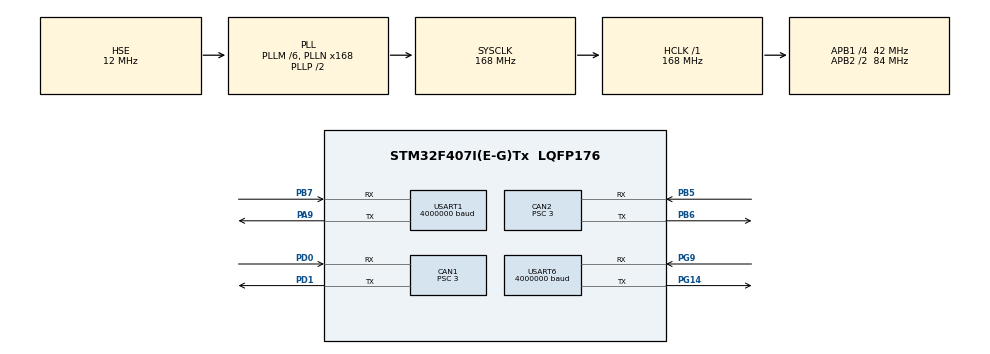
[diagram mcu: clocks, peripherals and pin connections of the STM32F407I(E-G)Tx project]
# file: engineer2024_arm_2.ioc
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CAN1.BS1=CAN_BS1_10TQ
CAN1.BS2=CAN_BS2_3TQ
CAN1.CalculateBaudRate=1000000
CAN1.CalculateTimeBit=1000
CAN1.CalculateTimeQuantum=71.42857142857143
CAN1.Prescaler=3
CAN2.BS1=CAN_BS1_10TQ
CAN2.BS2=CAN_BS2_3TQ
CAN2.CalculateBaudRate=1000000
CAN2.CalculateTimeBit=1000
CAN2.CalculateTimeQuantum=71.42857142857143
CAN2.Prescaler=3
Dma.Request0=USART1_TX
Dma.Request1=USART1_RX
Dma.Request2=USART6_RX
Dma.Request3=USART6_TX
Dma.USART1_RX.1.Direction=DMA_PERIPH_TO_MEMORY
Dma.USART1_RX.1.FIFOMode=DMA_FIFOMODE_DISABLE
Dma.USART1_RX.1.Instance=DMA2_Stream2
Dma.USART1_RX.1.MemDataAlignment=DMA_MDATAALIGN_BYTE
Dma.USART1_RX.1.MemInc=DMA_MINC_ENABLE
Dma.USART1_RX.1.Mode=DMA_NORMAL
Dma.USART1_RX.1.PeriphDataAlignment=DMA_PDATAALIGN_BYTE
Dma.USART1_RX.1.PeriphInc=DMA_PINC_DISABLE
Dma.USART1_RX.1.Priority=DMA_PRIORITY_VERY_HIGH
Dma.USART1_TX.0.Direction=DMA_MEMORY_TO_PERIPH
Dma.USART1_TX.0.FIFOMode=DMA_FIFOMODE_DISABLE
Dma.USART1_TX.0.Instance=DMA2_Stream7
Dma.USART1_TX.0.MemDataAlignment=DMA_MDATAALIGN_BYTE
Dma.USART1_TX.0.MemInc=DMA_MINC_ENABLE
Dma.USART1_TX.0.Mode=DMA_NORMAL
Dma.USART1_TX.0.PeriphDataAlignment=DMA_PDATAALIGN_BYTE
Dma.USART1_TX.0.PeriphInc=DMA_PINC_DISABLE
Dma.USART1_TX.0.Priority=DMA_PRIORITY_VERY_HIGH
Dma.USART6_RX.2.Direction=DMA_PERIPH_TO_MEMORY
Dma.USART6_RX.2.FIFOMode=DMA_FIFOMODE_DISABLE
Dma.USART6_RX.2.Instance=DMA2_Stream1
Dma.USART6_RX.2.MemDataAlignment=DMA_MDATAALIGN_BYTE
Dma.USART6_RX.2.MemInc=DMA_MINC_ENABLE
Dma.USART6_RX.2.Mode=DMA_NORMAL
Dma.USART6_RX.2.PeriphDataAlignment=DMA_PDATAALIGN_BYTE
Dma.USART6_RX.2.PeriphInc=DMA_PINC_DISABLE
Dma.USART6_RX.2.Priority=DMA_PRIORITY_VERY_HIGH
Dma.USART6_TX.3.Direction=DMA_MEMORY_TO_PERIPH
Dma.USART6_TX.3.FIFOMode=DMA_FIFOMODE_DISABLE
Dma.USART6_TX.3.Instance=DMA2_Stream6
Dma.USART6_TX.3.MemDataAlignment=DMA_MDATAALIGN_BYTE
Dma.USART6_TX.3.MemInc=DMA_MINC_ENABLE
Dma.USART6_TX.3.Mode=DMA_NORMAL
Dma.USART6_TX.3.PeriphDataAlignment=DMA_PDATAALIGN_BYTE
Dma.USART6_TX.3.PeriphInc=DMA_PINC_DISABLE
Dma.USART6_TX.3.Priority=DMA_PRIORITY_VERY_HIGH
FREERTOS.Tasks01=defaultTask,0,128,StartDefaultTask,Default,NULL,Dynamic,NULL,NULL
Mcu.Family=STM32F4
Mcu.Name=STM32F407I(E-G)Tx
Mcu.Package=LQFP176
NVIC.CAN1_RX0_IRQn=true\:5\:0\:false\:false\:true\:true\:true\:true\:true
NVIC.CAN2_RX0_IRQn=true\:5\:0\:false\:false\:true\:true\:true\:true\:true
NVIC.DMA2_Stream1_IRQn=true\:5\:0\:false\:false\:true\:true\:false\:true\:true
NVIC.DMA2_Stream2_IRQn=true\:5\:0\:false\:false\:true\:true\:false\:true\:true
NVIC.DMA2_Stream6_IRQn=true\:5\:0\:false\:false\:true\:true\:false\:true\:true
NVIC.DMA2_Stream7_IRQn=true\:5\:0\:false\:false\:true\:true\:false\:true\:true
NVIC.PriorityGroup=NVIC_PRIORITYGROUP_4
NVIC.USART1_IRQn=true\:5\:0\:false\:false\:true\:true\:true\:true\:true
NVIC.USART6_IRQn=true\:5\:0\:false\:false\:true\:true\:true\:true\:true
PA13.Mode=Serial_Wire
PA13.Signal=SYS_JTMS-SWDIO
PA14.Mode=Serial_Wire
PA14.Signal=SYS_JTCK-SWCLK
PA9.Mode=Asynchronous
PA9.Signal=USART1_TX
PB5.Mode=CAN_Activate
PB5.Signal=CAN2_RX
PB6.Mode=CAN_Activate
PB6.Signal=CAN2_TX
PB7.Mode=Asynchronous
PB7.Signal=USART1_RX
PD0.Mode=CAN_Activate
PD0.Signal=CAN1_RX
PD1.Mode=CAN_Activate
PD1.Signal=CAN1_TX
PG14.Mode=Asynchronous
PG14.Signal=USART6_TX
PG9.Mode=Asynchronous
PG9.Signal=USART6_RX
PH0-OSC_IN.Mode=HSE-External-Oscillator
PH0-OSC_IN.Signal=RCC_OSC_IN
PH1-OSC_OUT.Mode=HSE-External-Oscillator
PH1-OSC_OUT.Signal=RCC_OSC_OUT
ProjectManager.HeapSize=0x200
ProjectManager.StackSize=0x400
ProjectManager.TargetToolchain=MDK-ARM V5.32
RCC.48MHZClocksFreq_Value=84000000
RCC.AHBFreq_Value=168000000
RCC.APB1CLKDivider=RCC_HCLK_DIV4
RCC.APB1Freq_Value=42000000
RCC.APB1TimFreq_Value=84000000
RCC.APB2CLKDivider=RCC_HCLK_DIV2
RCC.APB2Freq_Value=84000000
RCC.APB2TimFreq_Value=168000000
RCC.CortexFreq_Value=168000000
RCC.HCLKFreq_Value=168000000
RCC.HSE_VALUE=12000000
RCC.HSI_VALUE=16000000
RCC.LSE_VALUE=32768
RCC.PLLM=6
RCC.PLLN=168
RCC.PLLSourceVirtual=RCC_PLLSOURCE_HSE
RCC.SYSCLKFreq_VALUE=168000000
RCC.SYSCLKSource=RCC_SYSCLKSOURCE_PLLCLK
RCC.VCOOutputFreq_Value=336000000
USART1.BaudRate=4000000
USART1.VirtualMode=VM_ASYNC
USART6.BaudRate=4000000
USART6.VirtualMode=VM_ASYNC
VP_FREERTOS_VS_CMSIS_V1.Mode=CMSIS_V1
board=custom

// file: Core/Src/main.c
/* USER CODE BEGIN Header */
/**
  ******************************************************************************
  * @file           : main.c
  * @brief          : Main program body
  ******************************************************************************
  * @attention
  *
  * Copyright (c) 2024 STMicroelectronics.
  * All rights reserved.
  *
  * This software is licensed under terms that can be found in the LICENSE file
  * in the root directory of this software component.
  * If no LICENSE file comes with this software, it is provided AS-IS.
  *
  ******************************************************************************
  */
/* USER CODE END Header */
#include "main.h"
#include "cmsis_os.h"
#include "can.h"
#include "dma.h"
#include "usart.h"
#include "gpio.h"

/* USER CODE BEGIN Includes */
#include "bsp_usart.h"
#include "bsp_can.h"
#include "bsp_dwt.h"
/* USER CODE END Includes */

void SystemClock_Config(void);
void MX_FREERTOS_Init(void);

int main(void)
{

  /* MCU Configuration--------------------------------------------------------*/

  /* Reset of all peripherals, Initializes the Flash interface and the Systick. */
  HAL_Init();

  /* Configure the system clock */
  SystemClock_Config();

  /* Initialize all configured peripherals */
  MX_GPIO_Init();
  MX_DMA_Init();
  MX_CAN1_Init();
  MX_CAN2_Init();
  MX_USART1_UART_Init();
  MX_USART6_UART_Init();
  /* USER CODE BEGIN 2 */
	uart1_init();
	uart6_init();
	can_filter_init();
	DWT_Init(168);
  /* USER CODE END 2 */

  /* Call init function for freertos objects (in freertos.c) */
  MX_FREERTOS_Init();

  /* Start scheduler */
  osKernelStart();

  /* We should never get here as control is now taken by the scheduler */
  /* Infinite loop */
  while (1)
  {

  }
}

void SystemClock_Config(void)
{
  RCC_OscInitTypeDef RCC_OscInitStruct = {0};
  RCC_ClkInitTypeDef RCC_ClkInitStruct = {0};

  /** Configure the main internal regulator output voltage
  */
  __HAL_RCC_PWR_CLK_ENABLE();
  __HAL_PWR_VOLTAGESCALING_CONFIG(PWR_REGULATOR_VOLTAGE_SCALE1);

  /** Initializes the RCC Oscillators according to the specified parameters
  * in the RCC_OscInitTypeDef structure.
  */
  RCC_OscInitStruct.OscillatorType = RCC_OSCILLATORTYPE_HSE;
  RCC_OscInitStruct.HSEState = RCC_HSE_ON;
  RCC_OscInitStruct.PLL.PLLState = RCC_PLL_ON;
  RCC_OscInitStruct.PLL.PLLSource = RCC_PLLSOURCE_HSE;
  RCC_OscInitStruct.PLL.PLLM = 6;
  RCC_OscInitStruct.PLL.PLLN = 168;
  RCC_OscInitStruct.PLL.PLLP = RCC_PLLP_DIV2;
  RCC_OscInitStruct.PLL.PLLQ = 4;
  if (HAL_RCC_OscConfig(&RCC_OscInitStruct) != HAL_OK)
  {
    Error_Handler();
  }

  /** Initializes the CPU, AHB and APB buses clocks
  */
  RCC_ClkInitStruct.ClockType = RCC_CLOCKTYPE_HCLK|RCC_CLOCKTYPE_SYSCLK
                              |RCC_CLOCKTYPE_PCLK1|RCC_CLOCKTYPE_PCLK2;
  RCC_ClkInitStruct.SYSCLKSource = RCC_SYSCLKSOURCE_PLLCLK;
  RCC_ClkInitStruct.AHBCLKDivider = RCC_SYSCLK_DIV1;
  RCC_ClkInitStruct.APB1CLKDivider = RCC_HCLK_DIV4;
  RCC_ClkInitStruct.APB2CLKDivider = RCC_HCLK_DIV2;

  if (HAL_RCC_ClockConfig(&RCC_ClkInitStruct, FLASH_LATENCY_5) != HAL_OK)
  {
    Error_Handler();
  }
}

void Error_Handler(void)
{
  __disable_irq();
  while (1)
  {
  }
}

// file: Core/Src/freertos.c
/* USER CODE BEGIN Header */
/**
  ******************************************************************************
  * File Name          : freertos.c
  * Description        : Code for freertos applications
  ******************************************************************************
  * @attention
  *
  * Copyright (c) 2024 STMicroelectronics.
  * All rights reserved.
  *
  * This software is licensed under terms that can be found in the LICENSE file
  * in the root directory of this software component.
  * If no LICENSE file comes with this software, it is provided AS-IS.
  *
  ******************************************************************************
  */
/* USER CODE END Header */

#include "FreeRTOS.h"
#include "task.h"
#include "main.h"
#include "cmsis_os.h"

/* USER CODE BEGIN Includes */
#include "A_communicate_task.h"
#include "arm_control_task.h"
/* USER CODE END Includes */

/* USER CODE BEGIN Variables */
osThreadId A_communicateTaskHandle;
osThreadId arm_controlTaskHandle;
//osThreadId arm_3508TaskHandle;
/* USER CODE END Variables */
osThreadId defaultTaskHandle;

void StartDefaultTask(void const * argument);

void MX_FREERTOS_Init(void); /* (MISRA C 2004 rule 8.1) */

/* GetIdleTaskMemory prototype (linked to static allocation support) */
void vApplicationGetIdleTaskMemory( StaticTask_t **ppxIdleTaskTCBBuffer, StackType_t **ppxIdleTaskStackBuffer, uint32_t *pulIdleTaskStackSize );

/* USER CODE BEGIN GET_IDLE_TASK_MEMORY */
static StaticTask_t xIdleTaskTCBBuffer;
static StackType_t xIdleStack[configMINIMAL_STACK_SIZE];

void vApplicationGetIdleTaskMemory( StaticTask_t **ppxIdleTaskTCBBuffer, StackType_t **ppxIdleTaskStackBuffer, uint32_t *pulIdleTaskStackSize )
{
  *ppxIdleTaskTCBBuffer = &xIdleTaskTCBBuffer;
  *ppxIdleTaskStackBuffer = &xIdleStack[0];
  *pulIdleTaskStackSize = configMINIMAL_STACK_SIZE;
  /* place for user code */
}
/* USER CODE END GET_IDLE_TASK_MEMORY */

void MX_FREERTOS_Init(void) {

  /* Create the thread(s) */
  /* definition and creation of defaultTask */
//  osThreadDef(defaultTask, StartDefaultTask, osPriorityNormal, 0, 128);
//  defaultTaskHandle = osThreadCreate(osThread(defaultTask), NULL);

  /* USER CODE BEGIN RTOS_THREADS */
  /* add threads, ... */
	osThreadDef(A_communicateTask, A_communicate_task, osPriorityNormal, 0, 256);
  A_communicateTaskHandle = osThreadCreate(osThread(A_communicateTask), NULL);

	osThreadDef(arm_controlTask, arm_task, osPriorityAboveNormal, 0, 1024);
  arm_controlTaskHandle = osThreadCreate(osThread(arm_controlTask), NULL);

  /* USER CODE END RTOS_THREADS */

}

/* USER CODE BEGIN Header_StartDefaultTask */
///* USER CODE END Header_StartDefaultTask */
//void StartDefaultTask(void const * argument)
//{
//  /* USER CODE BEGIN StartDefaultTask */
//  /* Infinite loop */
//  for(;;)
//  {
//    osDelay(1);
//  }
//  /* USER CODE END StartDefaultTask */
//}
